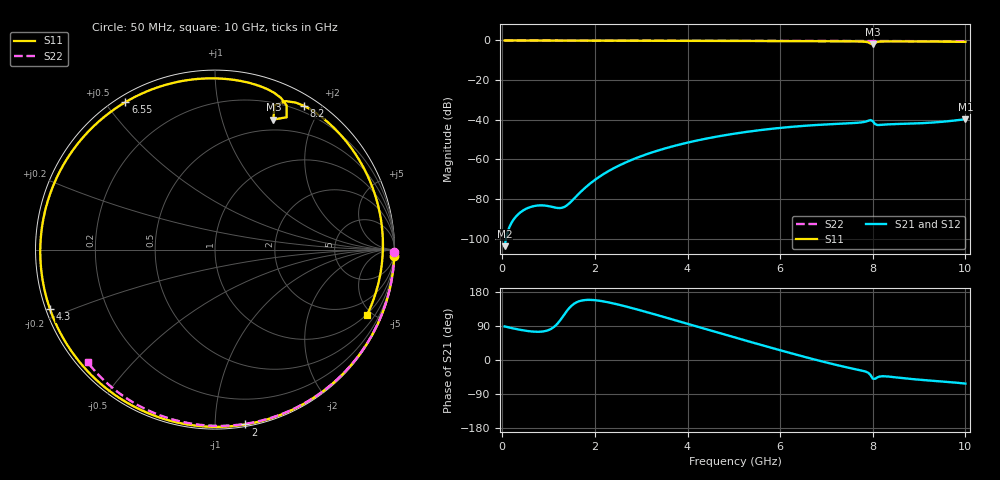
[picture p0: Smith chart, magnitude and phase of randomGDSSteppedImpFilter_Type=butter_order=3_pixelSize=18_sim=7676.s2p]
! freq	dB(S11)	phase(S11)	dB(S12)	phase(S12)
!  dB(S21)	phase(S21)	dB(S22)	phase(S22)
!S-par simulation data
#  GHz  S  DB  R 50
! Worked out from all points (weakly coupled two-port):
!   200 points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, 50 MHz to 10 GHz, reference 50 ohm
!   highest |S21| = -39.73 dB at 10 GHz (marker M1); lowest = -103.8 dB at 50 MHz (marker M2)
!   lowest |S11| = -2.0 dB at 8 GHz (marker M3), VSWR 8.71, Z = 18.8 + j73.9 ohm
!   |S11| at or under -10 dB: nowhere
!   |S22| runs from -0.5 to 0.0 dB; largest |S21 - S12| = 0
!   S11 on the Smith chart (normalised r, x): 50 MHz: 1, -54; 2 GHz: 0.01, -1.19; 4.3 GHz: 0.01, -0.17; 6.55 GHz: 0.03, +0.56; 8.2 GHz: 0.13, +1.79; 10 GHz: 0.97, -4.70
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0.05  -0.01 -2.1  -103.76 88.5  -103.76 88.5  -0.00 -0.8
0.7  -0.03 -29.1  -83.47 74.7  -83.47 74.7  -0.01 -11.2
1.5  -0.08 -61.1  -80.95 143.7  -80.95 143.7  -0.03 -23.7
1.75  -0.09 -70.7  -75.12 157.7  -75.12 157.7  -0.04 -27.6
2  -0.10 -80.2  -70.32 157.9  -70.32 157.9  -0.04 -31.5
2.65  -0.12 -103.9  -61.68 141.8  -61.68 141.8  -0.05 -41.4
3.4  -0.16 -129.9  -55.25 116.7  -55.25 116.7  -0.07 -52.5
4.3  -0.20 -160.2  -50.00 84.9  -50.00 84.9  -0.09 -65.5
5.05  -0.24 174.7  -46.88 58.5  -46.88 58.5  -0.12 -76.0
5.8  -0.29 148.7  -44.60 32.5  -44.60 32.5  -0.15 -86.1
6.55  -0.34 121.3  -43.01 7.5  -43.01 7.5  -0.18 -95.9
6.7  -0.35 115.6  -42.77 2.7  -42.77 2.7  -0.19 -97.8
7.5  -0.43 83.3  -41.78 -21.1  -41.78 -21.1  -0.24 -108.0
7.9  -0.95 63.6  -40.55 -33.5  -40.55 -33.5  -0.27 -112.9
8  -2.00 65.8  -40.71 -49.2  -40.71 -49.2  -0.28 -114.2
8.1  -0.76 64.5  -42.64 -45.6  -42.64 -45.6  -0.28 -115.4
8.2  -0.52 58.3  -42.52 -42.9  -42.52 -42.9  -0.29 -116.6
8.35  -0.47 50.8  -42.30 -43.8  -42.30 -43.8  -0.30 -118.5
8.8  -0.49 30.3  -41.95 -49.7  -41.95 -49.7  -0.34 -124.0
9.2  -0.53 12.5  -41.54 -54.0  -41.54 -54.0  -0.38 -128.8
9.6  -0.60 -5.2  -40.80 -57.7  -40.80 -57.7  -0.42 -133.6
10  -0.70 -23.1  -39.73 -62.3  -39.73 -62.3  -0.47 -138.5
